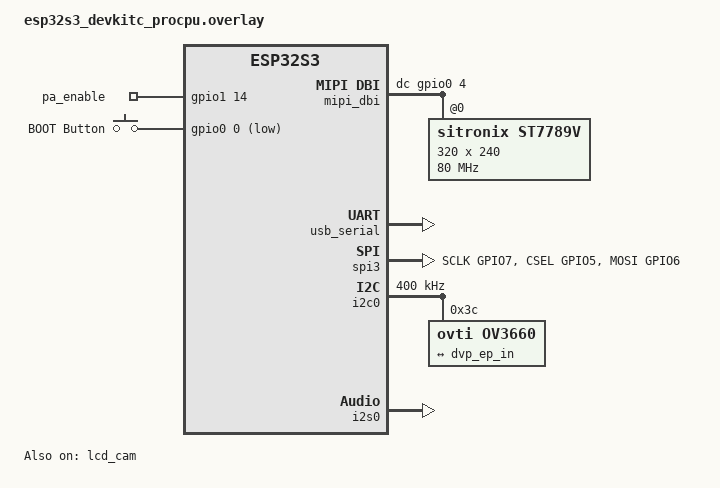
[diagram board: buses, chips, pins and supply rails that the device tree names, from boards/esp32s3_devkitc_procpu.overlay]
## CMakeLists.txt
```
# launcher_full firmware for CHD-ESP32-S3-BOX
#
# Merges launcher's home-screen icon grid UI with face_recognize's
# camera + qwen-vl-plus + CosyVoice TTS pipeline.
#
# 2a: skeleton copied from face_recognize, builds 1:1.
# 2b+: home_ui.c / app_camera.c / app_ai_vision.c will replace main.c.

cmake_minimum_required(VERSION 3.20.0)
find_package(Zephyr REQUIRED HINTS $ENV{ZEPHYR_BASE})
project(launcher_full)

target_sources(app PRIVATE
	src/main.c
	src/home_ui.c
	src/app_camera.c
	src/app_ai_vision.c
	src/app_imu.c
	src/jpeg_enc.c
	src/ai_client.c
	src/audio.c
	src/tts_client.c
)
```

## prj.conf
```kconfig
# Face recognize firmware: Camera + WiFi (NO BT, NO audio).
# Phase 0 goal: verify WiFi coexists with LCD-CAM peripheral.

# ── Display + LVGL (small footprint, just for status text overlay) ──
CONFIG_DISPLAY=y
CONFIG_LVGL=y
CONFIG_LV_USE_LOG=n
CONFIG_LV_Z_MEM_POOL_SIZE=32768
CONFIG_LV_Z_VDB_SIZE=20
CONFIG_LV_Z_BITS_PER_PIXEL=16
CONFIG_LV_COLOR_16_SWAP=y
CONFIG_LV_USE_LABEL=y
CONFIG_LV_USE_BUTTON=y
CONFIG_LV_USE_IMAGE=y
CONFIG_LV_FONT_MONTSERRAT_14=y
CONFIG_LV_FONT_MONTSERRAT_16=y
CONFIG_LV_FONT_MONTSERRAT_18=y
CONFIG_LV_FONT_MONTSERRAT_28=y
# Disable default theme (shadows crash with WiFi/I2S coexistence on ESP32-S3)
CONFIG_LV_USE_THEME_DEFAULT=n
CONFIG_LV_USE_THEME_SIMPLE=y

# ── SPI for LCD ──
CONFIG_SPI=y
CONFIG_MIPI_DBI=y

# ── I2C for OV3660 sensor config ──
CONFIG_I2C=y

# ── GPIO for BOOT button ──
CONFIG_GPIO=y
CONFIG_GPIO_INIT_PRIORITY=40

# ── Video subsystem ──
CONFIG_VIDEO=y
CONFIG_VIDEO_LOG_LEVEL_INF=y
CONFIG_VIDEO_BUFFER_USE_SHARED_MULTI_HEAP=y
CONFIG_VIDEO_BUFFER_SMH_ATTRIBUTE=2
CONFIG_VIDEO_BUFFER_POOL_NUM_MAX=4
CONFIG_VIDEO_BUFFER_POOL_SZ_MAX=153600
CONFIG_VIDEO_ESP32_DMA_BUFFER_MAX_SIZE=4092
CONFIG_VIDEO_OV3660=y
CONFIG_VIDEO_OV3660_COLOR_BAR_TEST=n

# ── DMA for LCD-CAM ──
CONFIG_DMA=y
CONFIG_DMA_ESP32_MAX_DESCRIPTOR_NUM=64

# ── I2S (audio TX/RX via ES8311 + ES7210) ──
CONFIG_I2S=y

# ── PSRAM ──
CONFIG_ESP_SPIRAM=y
CONFIG_SHARED_MULTI_HEAP=y
CONFIG_ESP_SPIRAM_HEAP_SIZE=4194304

# ── Networking ──
CONFIG_NETWORKING=y
CONFIG_NET_MGMT=y
CONFIG_NET_MGMT_EVENT=y
CONFIG_NET_MGMT_EVENT_INFO=y
CONFIG_NET_IPV4=y
CONFIG_NET_IPV6=n
CONFIG_NET_TCP=y
CONFIG_NET_UDP=y
CONFIG_NET_DHCPV4=y
CONFIG_NET_SOCKETS=y
CONFIG_POSIX_API=y

# ── TLS (mbedTLS) for HTTPS to dashscope.aliyuncs.com ──
CONFIG_NET_SOCKETS_SOCKOPT_TLS=y
CONFIG_TLS_CREDENTIALS=y
CONFIG_MBEDTLS=y
CONFIG_MBEDTLS_BUILTIN=y
CONFIG_MBEDTLS_SSL_MAX_CONTENT_LEN=16384
CONFIG_MBEDTLS_TLS_VERSION_1_2=y
CONFIG_MBEDTLS_SERVER_NAME_INDICATION=y
CONFIG_MBEDTLS_ENTROPY_C=y
CONFIG_MBEDTLS_SHA256=y
CONFIG_MBEDTLS_SHA384=y
CONFIG_MBEDTLS_SHA512=y
CONFIG_MBEDTLS_MD=y
CONFIG_MBEDTLS_ASN1_PARSE_C=y
CONFIG_MBEDTLS_KEY_EXCHANGE_RSA_ENABLED=y
CONFIG_MBEDTLS_KEY_EXCHANGE_ECDHE_RSA_ENABLED=y
CONFIG_MBEDTLS_KEY_EXCHANGE_ECDHE_ECDSA_ENABLED=y
CONFIG_MBEDTLS_CIPHER_AES_ENABLED=y
CONFIG_MBEDTLS_CIPHER_GCM_ENABLED=y
CONFIG_MBEDTLS_ECP_C=y
CONFIG_MBEDTLS_ECDH_C=y
CONFIG_MBEDTLS_ECDSA_C=y
CONFIG_MBEDTLS_ECP_DP_SECP256R1_ENABLED=y
CONFIG_MBEDTLS_ECP_DP_SECP384R1_ENABLED=y
CONFIG_MBEDTLS_RSA_C=y
CONFIG_MBEDTLS_PEM_CERTIFICATE_FORMAT=y
CONFIG_MBEDTLS_PKCS1_V15=y

# ── WiFi (PSRAM alloc to keep DRAM free) ──
CONFIG_WIFI=y
CONFIG_WIFI_NM=y
CONFIG_NET_L2_WIFI_MGMT=y
CONFIG_ESP32_WIFI_STA_AUTO_DHCPV4=y
CONFIG_ESP32_WIFI_STATIC_RX_BUFFER_NUM=4
CONFIG_ESP32_WIFI_DYNAMIC_RX_BUFFER_NUM=8
CONFIG_ESP32_WIFI_DYNAMIC_TX_BUFFER_NUM=8
CONFIG_ESP32_WIFI_NET_ALLOC_SPIRAM=y
CONFIG_ESP_WIFI_HEAP_SPIRAM=y

# ── DNS ──
CONFIG_DNS_RESOLVER=y
CONFIG_DNS_RESOLVER_AI_MAX_ENTRIES=2

# ── Logging ──
CONFIG_LOG=y
CONFIG_LOG_DEFAULT_LEVEL=3
CONFIG_PRINTK=y
# Bypass LOG ring for printk so JPEG hex dump can't be dropped.
CONFIG_LOG_PRINTK=n
# Use synchronous log so OV3660 init logs don't get dropped either.
CONFIG_LOG_MODE_IMMEDIATE=y
CONFIG_SERIAL=y

# ── Stack & buffers ──
CONFIG_MAIN_STACK_SIZE=8192
CONFIG_HEAP_MEM_POOL_SIZE=65536
CONFIG_SYSTEM_WORKQUEUE_STACK_SIZE=4096
CONFIG_NET_TX_STACK_SIZE=1024
CONFIG_NET_RX_STACK_SIZE=1024
CONFIG_NET_MGMT_EVENT_STACK_SIZE=4096
CONFIG_NET_PKT_RX_COUNT=24
CONFIG_NET_PKT_TX_COUNT=10
CONFIG_NET_BUF_RX_COUNT=64
CONFIG_NET_BUF_TX_COUNT=24
CONFIG_NET_MAX_CONTEXTS=6
```

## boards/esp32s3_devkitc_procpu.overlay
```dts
/* Camera firmware DTS overlay for CHD-ESP32-S3-BOX
 *
 * Pure camera build: LCD (ST7789V on SPI3) + LCD-CAM (DVP/OV3660) + I2C0 +
 * BOOT button. NO BT, NO I2S, NO SDMMC.
 */

#include <zephyr/dt-bindings/pinctrl/esp-pinctrl-common.h>
#include <dt-bindings/pinctrl/esp32s3-pinctrl.h>
#include <zephyr/dt-bindings/pinctrl/esp32s3-gpio-sigmap.h>
#include <zephyr/dt-bindings/mipi_dbi/mipi_dbi.h>

/ {
	chosen {
		zephyr,console = &usb_serial;
		zephyr,shell-uart = &usb_serial;
		zephyr,display = &st7789v;
		zephyr,camera = &lcd_cam;
	};

	/* ── LCD: ST7789V 320x240 SPI ── */
	mipi_dbi {
		compatible = "zephyr,mipi-dbi-spi";
		dc-gpios = <&gpio0 4 GPIO_ACTIVE_HIGH>;
		spi-dev = <&spi3>;
		write-only;
		#address-cells = <1>;
		#size-cells = <0>;

		st7789v: st7789v@0 {
			compatible = "sitronix,st7789v";
			mipi-max-frequency = <80000000>;
			reg = <0>;
			width = <320>;
			height = <240>;
			x-offset = <0>;
			y-offset = <0>;
			vcom = <0x19>;
			gctrl = <0x35>;
			vrhs = <0x12>;
			vdvs = <0x20>;
			mdac = <0x60>;
			gamma = <0x01>;
			colmod = <0x55>;
			inversion-off;
			lcm = <0x2c>;
			porch-param = [0c 0c 00 33 33];
			cmd2en-param = [5a 69 02 01];
			pwctrl1-param = [a4 a1];
			pvgam-param = [D0 04 0D 11 13 2B 3F 54 4C 18 0D 0B 1F 23];
			nvgam-param = [D0 04 0C 11 13 2C 3F 44 51 2F 1F 1F 20 23];
			ram-param = [00 F0];
			rgb-param = [CD 08 14];
			mipi-mode = "MIPI_DBI_MODE_SPI_4WIRE";
		};
	};

	/* ── PA enable (IO46 = gpio1 pin 14) — for ES8311 speaker amp ── */
	leds {
		compatible = "gpio-leds";
		pa_enable: pa {
			gpios = <&gpio1 14 GPIO_ACTIVE_HIGH>;
		};
	};

	/* ── BOOT button (IO0) ── */
	buttons {
		compatible = "gpio-keys";
		boot_button: boot_button {
			gpios = <&gpio0 0 (GPIO_PULL_UP | GPIO_ACTIVE_LOW)>;
			label = "BOOT Button";
		};
	};

	aliases {
		sw0 = &boot_button;
	};
};

&usb_serial {
	status = "okay";
};

&pinctrl {
	spim3_default: spim3_default {
		group1 {
			pinmux = <SPIM3_SCLK_GPIO7>,
				 <SPIM3_CSEL_GPIO5>;
		};
		group2 {
			pinmux = <SPIM3_MOSI_GPIO6>;
			output-low;
		};
	};

	i2c0_default: i2c0_default {
		group1 {
			pinmux = <I2C0_SDA_GPIO8>,
				 <I2C0_SCL_GPIO18>;
			bias-pull-up;
			drive-open-drain;
			output-high;
		};
	};

	lcd_cam_default: lcd_cam_default {
		group1 {
			pinmux = <LCD_CAM_CAM_CLK_GPIO39>;
			output-enable;
		};
		group2 {
			pinmux = <LCD_CAM_V_SYNC_CAM_GPIO42>,
				 <LCD_CAM_H_ENABLE_CAM_GPIO41>,
				 <LCD_CAM_CAM_PCLK_GPIO14>,
				 <LCD_CAM_DATA_IN0_GPIO12>,
				 <LCD_CAM_DATA_IN1_GPIO10>,
				 <LCD_CAM_DATA_IN2_GPIO9>,
				 <LCD_CAM_DATA_IN3_GPIO11>,
				 <LCD_CAM_DATA_IN4_GPIO13>,
				 <LCD_CAM_DATA_IN5_GPIO21>,
				 <LCD_CAM_DATA_IN6_GPIO38>,
				 <LCD_CAM_DATA_IN7_GPIO40>;
			input-enable;
			bias-disable;
		};
	};

	/* I2S0: Audio (MCLK=IO2, BCLK=IO17, WS=IO45, DOUT=IO15, DIN=IO16) */
	i2s0_default: i2s0_default {
		group1 {
			pinmux = <I2S0_MCLK_GPIO2>,
				 <I2S0_O_WS_GPIO45>,
				 <I2S0_O_BCK_GPIO17>,
				 <I2S0_O_SD_GPIO15>;
			output-enable;
		};
		group2 {
			pinmux = <I2S0_I_SD_GPIO16>;
			input-enable;
		};
	};
};

&spi3 {
	#address-cells = <1>;
	#size-cells = <0>;
	status = "okay";
	pinctrl-0 = <&spim3_default>;
	pinctrl-names = "default";
};

&i2c0 {
	status = "okay";
	clock-frequency = <I2C_BITRATE_FAST>;
	pinctrl-0 = <&i2c0_default>;
	pinctrl-names = "default";

	ov3660: ov3660@3c {
		compatible = "ovti,ov3660";
		reg = <0x3c>;
		status = "okay";

		port {
			ov3660_ep_out: endpoint {
				remote-endpoint = <&dvp_ep_in>;
			};
		};
	};
};

&lcd_cam {
	status = "okay";
	cam-clk = <16000000>;
	pinctrl-0 = <&lcd_cam_default>;
	pinctrl-names = "default";
	source = <&ov3660>;
	dmas = <&dma 2>;
	dma-names = "rx";

	port {
		dvp_ep_in: endpoint {
			remote-endpoint = <&ov3660_ep_out>;
		};
	};
};

&dma {
	status = "okay";
};

/* ── I2S0: Audio TX/RX (ES8311 DAC + ES7210 ADC) ── */
i2s_rxtx: &i2s0 {
	pinctrl-0 = <&i2s0_default>;
	pinctrl-names = "default";
	status = "okay";
};
```

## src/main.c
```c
/*
 * launcher_full main.c — phase 2b/2c skeleton
 *
 * Boot flow:
 *   1) display init + LVGL ready
 *   2) backlight on
 *   3) home_ui_init()
 *   4) BOOT key short-press → home_ui_focus_next()
 *      BOOT key double-press → home_ui_activate_selected()
 *   5) lv_task_handler loop
 *
 * Camera / AI / TTS code is parked in app_ai_vision.c (not yet compiled).
 * It will be re-enabled in 2d/2e once HOME UI + BOOT navigation are validated.
 */

#include <zephyr/kernel.h>
#include <zephyr/logging/log.h>
#include <zephyr/device.h>
#include <zephyr/drivers/display.h>
#include <zephyr/drivers/gpio.h>
#include <lvgl.h>

#include "home_ui.h"

LOG_MODULE_REGISTER(main, LOG_LEVEL_INF);

/* ── Backlight (IO47 = gpio1 pin 15) ─────────────────────────────── */
#define BLK_NODE  DT_NODELABEL(gpio1)
#define BLK_PIN   15

/* ── BOOT button: short press = focus next, double press = activate ─ */
#define BOOT_NODE DT_ALIAS(sw0)
static const struct gpio_dt_spec boot_btn = GPIO_DT_SPEC_GET(BOOT_NODE, gpios);

#define DOUBLE_PRESS_WINDOW_MS  400  /* gap between two presses to count as double */
#define DEBOUNCE_MS              30

static int64_t last_press_ms;
static int64_t prev_release_ms;
static bool    waiting_for_double;

/* Returns 1 = short, 2 = double. Polled in main loop. */
static int read_button_event(void)
{
	static bool pressed_prev;
	bool pressed = (gpio_pin_get_dt(&boot_btn) == 1);
	int64_t now  = k_uptime_get();
	int evt = 0;

	if (pressed && !pressed_prev) {
		/* falling edge */
		if (now - last_press_ms > DEBOUNCE_MS) {
			last_press_ms = now;
		}
	} else if (!pressed && pressed_prev) {
		/* rising edge — released */
		if (now - last_press_ms < DEBOUNCE_MS) {
			/* glitch */
		} else if (waiting_for_double &&
			   (now - prev_release_ms) <= DOUBLE_PRESS_WINDOW_MS) {
			evt = 2;            /* double */
			waiting_for_double = false;
		} else {
			waiting_for_double = true;
			prev_release_ms = now;
		}
	} else if (!pressed && waiting_for_double &&
		   (now - prev_release_ms) > DOUBLE_PRESS_WINDOW_MS) {
		evt = 1;                     /* timed-out single */
		waiting_for_double = false;
	}

	pressed_prev = pressed;
	return evt;
}

int main(void)
{
	LOG_INF("==== launcher_full boot (phase 2b/2c) ====");

	/* Display */
	const struct device *display_dev = DEVICE_DT_GET(DT_CHOSEN(zephyr_display));
	if (!device_is_ready(display_dev)) {
		LOG_ERR("display not ready");
		return -1;
	}

	/* Backlight on */
	const struct device *gpio1_dev = DEVICE_DT_GET(BLK_NODE);
	if (device_is_ready(gpio1_dev)) {
		gpio_pin_configure(gpio1_dev, BLK_PIN, GPIO_OUTPUT_ACTIVE);
		gpio_pin_set(gpio1_dev, BLK_PIN, 1);
	}

	/* BOOT button */
	if (!gpio_is_ready_dt(&boot_btn) ||
	    gpio_pin_configure_dt(&boot_btn, GPIO_INPUT) < 0) {
		LOG_WRN("BOOT button not available — UI navigation disabled");
	}

	/* HOME UI */
	home_ui_init();
	display_blanking_off(display_dev);

	LOG_INF("ready — BOOT short=focus next, double=activate");

	while (1) {
		int evt = read_button_event();
		if (evt == 1) {
			home_ui_focus_next();
		} else if (evt == 2) {
			home_ui_activate_selected();
		}
		lv_task_handler();
		k_msleep(20);
	}
	return 0;
}
```

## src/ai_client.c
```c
/*
 * ai_client.c — POST JPEG to Aliyun bailian (qwen-vl-plus) via TLS.
 *
 * Phase 1b-2: build OpenAI-compatible chat-completions request with
 * data:image/jpeg;base64 payload, send via mbedTLS sockets, dump the
 * raw HTTP response to UART. JSON parsing is deferred to phase 1b-3.
 */

#include <zephyr/kernel.h>
#include <zephyr/logging/log.h>
#include <zephyr/net/socket.h>
#include <zephyr/net/tls_credentials.h>
#include <zephyr/net/dns_resolve.h>

#include <errno.h>
#include <stdio.h>
#include <string.h>

#include "ai_client.h"
#include "ca_cert.h"
#include "secrets.h"

LOG_MODULE_REGISTER(ai_client, LOG_LEVEL_INF);

#define AI_HOST       "dashscope.aliyuncs.com"
#define AI_PORT       "443"
#define AI_PATH       "/compatible-mode/v1/chat/completions"
#define AI_MODEL      "qwen-vl-plus"
#define AI_PROMPT     "请用一句中文描述图片里的人脸或主要内容。"

#define CA_TAG        1

/* PSRAM-backed scratch buffers (avoid blowing up DRAM). */
#define REQ_CAP       (24 * 1024)   /* HTTP headers + JSON + base64 jpeg */
#define RESP_CAP      (4 * 1024)    /* full HTTP response */
#define B64_CAP       (16 * 1024)   /* base64-encoded jpeg, ~4/3 of jpeg_len */

static uint8_t req_buf[REQ_CAP]   __attribute__((section(".ext_ram.bss")));
static uint8_t resp_buf[RESP_CAP] __attribute__((section(".ext_ram.bss")));
static uint8_t b64_buf[B64_CAP]   __attribute__((section(".ext_ram.bss")));

/* ── base64 ─────────────────────────────────────────────────────────── */
static const char b64_tbl[] =
	"ABCDEFGHIJKLMNOPQRSTUVWXYZabcdefghijklmnopqrstuvwxyz0123456789+/";

static int b64_encode(const uint8_t *in, size_t in_len, char *out, size_t out_cap)
{
	size_t need = ((in_len + 2) / 3) * 4 + 1; /* + NUL */
	if (need > out_cap) {
		return -ENOSPC;
	}

	size_t i, o = 0;
	for (i = 0; i + 3 <= in_len; i += 3) {
		uint32_t v = ((uint32_t)in[i] << 16) | ((uint32_t)in[i + 1] << 8) | in[i + 2];
		out[o++] = b64_tbl[(v >> 18) & 0x3F];
		out[o++] = b64_tbl[(v >> 12) & 0x3F];
		out[o++] = b64_tbl[(v >> 6) & 0x3F];
		out[o++] = b64_tbl[v & 0x3F];
	}
	size_t rem = in_len - i;
	if (rem == 1) {
		uint32_t v = (uint32_t)in[i] << 16;
		out[o++] = b64_tbl[(v >> 18) & 0x3F];
		out[o++] = b64_tbl[(v >> 12) & 0x3F];
		out[o++] = '=';
		out[o++] = '=';
	} else if (rem == 2) {
		uint32_t v = ((uint32_t)in[i] << 16) | ((uint32_t)in[i + 1] << 8);
		out[o++] = b64_tbl[(v >> 18) & 0x3F];
		out[o++] = b64_tbl[(v >> 12) & 0x3F];
		out[o++] = b64_tbl[(v >> 6) & 0x3F];
		out[o++] = '=';
	}
	out[o] = '\0';
	return (int)o;
}

/* ── TLS credential init ────────────────────────────────────────────── */
int ai_client_init(void)
{
	int ret = tls_credential_add(CA_TAG, TLS_CREDENTIAL_CA_CERTIFICATE,
				     ca_cert_globalsign_r3,
				     sizeof(ca_cert_globalsign_r3));
	if (ret < 0 && ret != -EEXIST) {
		LOG_ERR("tls_credential_add failed: %d", ret);
		return ret;
	}
	LOG_INF("CA cert registered (tag=%d, %u bytes)",
		CA_TAG, (unsigned)sizeof(ca_cert_globalsign_r3));
	return 0;
}

/* ── DNS + TCP connect ──────────────────────────────────────────────── */
static int connect_tls(void)
{
	struct zsock_addrinfo hints = {
		.ai_family = AF_INET,
		.ai_socktype = SOCK_STREAM,
	};
	struct zsock_addrinfo *res = NULL;

	int ret = zsock_getaddrinfo(AI_HOST, AI_PORT, &hints, &res);
	if (ret != 0 || res == NULL) {
		LOG_ERR("getaddrinfo(%s) failed: %d", AI_HOST, ret);
		return -EHOSTUNREACH;
	}

	int sock = zsock_socket(res->ai_family, res->ai_socktype, IPPROTO_TLS_1_2);
	if (sock < 0) {
		LOG_ERR("socket() failed: %d", -errno);
		zsock_freeaddrinfo(res);
		return -errno;
	}

	sec_tag_t sec_tag_list[] = { CA_TAG };
	if (zsock_setsockopt(sock, SOL_TLS, TLS_SEC_TAG_LIST,
			     sec_tag_list, sizeof(sec_tag_list)) < 0) {
		LOG_ERR("TLS_SEC_TAG_LIST failed: %d", -errno);
		zsock_close(sock);
		zsock_freeaddrinfo(res);
		return -errno;
	}
	if (zsock_setsockopt(sock, SOL_TLS, TLS_HOSTNAME,
			     AI_HOST, strlen(AI_HOST)) < 0) {
		LOG_ERR("TLS_HOSTNAME failed: %d", -errno);
		zsock_close(sock);
		zsock_freeaddrinfo(res);
		return -errno;
	}

	int verify = TLS_PEER_VERIFY_REQUIRED;
	if (zsock_setsockopt(sock, SOL_TLS, TLS_PEER_VERIFY,
			     &verify, sizeof(verify)) < 0) {
		LOG_WRN("TLS_PEER_VERIFY failed: %d", -errno);
	}

	LOG_INF("connecting to %s:%s ...", AI_HOST, AI_PORT);
	if (zsock_connect(sock, res->ai_addr, res->ai_addrlen) < 0) {
		LOG_ERR("connect() failed: %d", -errno);
		zsock_close(sock);
		zsock_freeaddrinfo(res);
		return -errno;
	}
	zsock_freeaddrinfo(res);
	LOG_INF("TLS connected");
	return sock;
}

/* ── send all ───────────────────────────────────────────────────────── */
static int send_all(int sock, const uint8_t *buf, size_t len)
{
	size_t sent = 0;
	while (sent < len) {
		ssize_t n = zsock_send(sock, buf + sent, len - sent, 0);
		if (n < 0) {
			LOG_ERR("send() failed at %zu/%zu: %d", sent, len, -errno);
			return -errno;
		}
		sent += n;
	}
	return 0;
}

/* ── public API ─────────────────────────────────────────────────────── */
int ai_client_post_jpeg(const uint8_t *jpeg, size_t jpeg_len)
{
	int b64_len = b64_encode(jpeg, jpeg_len, (char *)b64_buf, B64_CAP);
	if (b64_len < 0) {
		LOG_ERR("base64 encode failed: %d", b64_len);
		return b64_len;
	}
	LOG_INF("base64: %d bytes (jpeg=%zu)", b64_len, jpeg_len);

	/* Build JSON body in tail of req_buf so we know its length first. */
	char *body = (char *)req_buf + 4096;
	size_t body_cap = REQ_CAP - 4096;
	int body_len = snprintf(body, body_cap,
		"{\"model\":\"%s\","
		"\"messages\":[{\"role\":\"user\",\"content\":["
		"{\"type\":\"image_url\",\"image_url\":{\"url\":\"data:image/jpeg;base64,",
		AI_MODEL);
	if (body_len < 0 || (size_t)body_len >= body_cap) {
		return -ENOSPC;
	}
	if ((size_t)body_len + b64_len + 256 >= body_cap) {
		LOG_ERR("body buffer too small");
		return -ENOSPC;
	}
	memcpy(body + body_len, b64_buf, b64_len);
	body_len += b64_len;
	int tail = snprintf(body + body_len, body_cap - body_len,
		"\"}},{\"type\":\"text\",\"text\":\"%s\"}]}]}", AI_PROMPT);
	if (tail < 0) {
		return -ENOSPC;
	}
	body_len += tail;

	/* Build HTTP header at start of req_buf. */
	int hdr_len = snprintf((char *)req_buf, 4096,
		"POST %s HTTP/1.1\r\n"
		"Host: %s\r\n"
		"Authorization: Bearer %s\r\n"
		"Content-Type: application/json\r\n"
		"Content-Length: %d\r\n"
		"Connection: close\r\n"
		"\r\n",
		AI_PATH, AI_HOST, BAILIAN_API_KEY, body_len);
	if (hdr_len < 0 || hdr_len >= 4096) {
		return -ENOSPC;
	}

	int sock = connect_tls();
	if (sock < 0) {
		return sock;
	}

	int ret = send_all(sock, req_buf, hdr_len);
	if (ret == 0) {
		ret = send_all(sock, (const uint8_t *)body, body_len);
	}
	if (ret < 0) {
		zsock_close(sock);
		return ret;
	}
	LOG_INF("request sent (header=%d, body=%d)", hdr_len, body_len);

	/* Read full response into resp_buf, then dump. */
	size_t total = 0;
	while (total < RESP_CAP - 1) {
		ssize_t n = zsock_recv(sock, resp_buf + total, RESP_CAP - 1 - total, 0);
		if (n == 0) {
			break; /* EOF */
		}
		if (n < 0) {
			LOG_ERR("recv() failed: %d", -errno);
			ret = -errno;
			break;
		}
		total += n;
	}
	zsock_close(sock);
	resp_buf[total] = '\0';

	printk("AI_RESP_BEGIN size=%zu\n", total);
	/* Dump as text in chunks; printk handles \r\n fine. */
	const size_t chunk = 256;
	for (size_t i = 0; i < total; i += chunk) {
		size_t n = (total - i < chunk) ? (total - i) : chunk;
		uint8_t save = resp_buf[i + n];
		resp_buf[i + n] = '\0';
		printk("%s", (char *)(resp_buf + i));
		resp_buf[i + n] = save;
	}
	printk("\nAI_RESP_END\n");

	return ret;
}

/* Extract choices[0].message.content from resp_buf (last response). */
int ai_client_get_caption(char *out, size_t out_max)
{
	if (!out || out_max == 0) return 0;
	out[0] = '\0';

	const char *p = strstr((const char *)resp_buf, "\"content\":\"");
	if (!p) return 0;
	p += 11; /* skip "content":" */

	size_t i = 0;
	while (*p && i + 1 < out_max) {
		char c = *p++;
		if (c == '\\' && *p) {
			char esc = *p++;
			switch (esc) {
			case 'n':  out[i++] = '\n'; break;
			case 't':  out[i++] = '\t'; break;
			case '"':  out[i++] = '"';  break;
			case '\\': out[i++] = '\\'; break;
			case '/':  out[i++] = '/';  break;
			default:   out[i++] = esc;  break;
			}
		} else if (c == '"') {
			break; /* end of string */
		} else {
			out[i++] = c;
		}
	}
	out[i] = '\0';
	return (int)i;
}
```

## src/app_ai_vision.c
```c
/*
 * Face recognize firmware — Step 1a (Option C dynamic switching skeleton).
 *
 * State machine (driven by BOOT button):
 *   MODE_LIVE        : camera streaming, WiFi off, LCD shows preview
 *      └─ BOOT short ──▶ MODE_UPLOADING
 *   MODE_UPLOADING   : cam stopped, WiFi connecting/connected, blue LCD
 *      └─ wifi up + 2s ──▶ MODE_RESULT (Phase 1b will replace 2s with HTTP POST)
 *   MODE_RESULT      : WiFi up but idle, LCD shows captured snapshot
 *      └─ BOOT short ──▶ MODE_LIVE (cam restart, WiFi down)
 *
 * Phase 1b will add: OV3660 JPEG mode, base64 encode, TLS, HTTPS POST to
 * Aliyun bailian qwen-vl-plus, JSON parse + LVGL result text overlay.
 */

#include <zephyr/kernel.h>
#include <zephyr/device.h>
#include <zephyr/drivers/display.h>
#include <zephyr/drivers/gpio.h>
#include <zephyr/drivers/video.h>
#include <zephyr/sys/printk.h>
#include <zephyr/net/net_if.h>
#include <zephyr/net/net_mgmt.h>
#include <zephyr/net/wifi_mgmt.h>
#include <zephyr/logging/log.h>
#include <string.h>

#include "secrets.h"
#include "jpeg_enc.h"
#include "ai_client.h"
#include "audio.h"
#include "tts_client.h"

/* Step 1b-1a: encode a synthetic gradient at boot, dump JPEG hex over UART.
 * Set to 0 to skip (re-enable normal LIVE mode without delay). */
#define JPEG_SELFTEST 0

LOG_MODULE_REGISTER(face_recog, LOG_LEVEL_INF);

#define CAM_W        320
#define CAM_H        240
#define CAM_BPP      2
#define CAM_BYTES    (CAM_W * CAM_H * CAM_BPP)
#define CAM_BUF_NUM  2
#define BL_PIN       (47 - 32)
#define BTN_STACK    1024
#define MAIN_STACK   8192
#define DEBOUNCE_MS  30
#define LONG_PRESS_MS 1500

enum mode {
	MODE_LIVE = 0,
	MODE_UPLOADING,
	MODE_RESULT,
};

static volatile enum mode g_mode = MODE_LIVE;
static volatile bool      g_btn_event;

/* PSRAM-backed snapshot of the last frame captured by the user. */
static uint8_t snapshot[CAM_BYTES] __attribute__((section(".ext_ram.bss"), aligned(4)));
/* Pre-filled solid-blue full-screen buffer for the UPLOADING state. */
static uint8_t blue_screen[CAM_BYTES] __attribute__((section(".ext_ram.bss"), aligned(4)));

/* PSRAM scratch for RGB565→RGB888 conversion + JPEG output of the snapshot.
 * Always allocated (selftest reuses the same backing pages via overlap if
 * JPEG_SELFTEST is enabled — but selftest is now off by default). */
#define SNAP_RGB888_BYTES  (CAM_W * CAM_H * 3)
#define SNAP_JPEG_BYTES    (48 * 1024)
static uint8_t snap_rgb888[SNAP_RGB888_BYTES]
	__attribute__((section(".ext_ram.bss"), aligned(4)));
static uint8_t snap_jpeg[SNAP_JPEG_BYTES]
	__attribute__((section(".ext_ram.bss"), aligned(4)));

/* Convert one RGB565 (big-endian, as written by LCD-CAM DMA) frame to RGB888
 * and run jpeg_enc on it.  Dumps the JPEG hex over UART between the same
 * JPEG_BEGIN/JPEG_END markers used by the selftest, so the host tools
 * (capture_selftest.py + hex_to_jpg.ps1) work unchanged. */
static int dump_snapshot_as_jpeg(int quality)
{
	const uint8_t *src = snapshot;
	uint8_t *dst = snap_rgb888;
	for (int i = 0; i < CAM_W * CAM_H; i++) {
		uint8_t hi = src[2 * i + 0];
		uint8_t lo = src[2 * i + 1];
		uint16_t p = ((uint16_t)hi << 8) | lo;
		uint8_t r5 = (p >> 11) & 0x1F;
		uint8_t g6 = (p >> 5)  & 0x3F;
		uint8_t b5 =  p        & 0x1F;
		dst[3 * i + 0] = (uint8_t)((r5 << 3) | (r5 >> 2));
		dst[3 * i + 1] = (uint8_t)((g6 << 2) | (g6 >> 4));
		dst[3 * i + 2] = (uint8_t)((b5 << 3) | (b5 >> 2));
	}

	int64_t t0 = k_uptime_get();
	int n = jpeg_encode_rgb888(snap_jpeg, SNAP_JPEG_BYTES,
				   snap_rgb888, CAM_W, CAM_H, quality);
	int64_t dt = k_uptime_get() - t0;

	printk("\n=== JPEG SNAPSHOT ===\n");
	printk("encode result=%d bytes, took %lld ms (q=%d)\n", n, dt, quality);
	if (n <= 0) {
		printk("=== JPEG SNAPSHOT FAILED ===\n");
		return n;
	}
	printk("JPEG_BEGIN size=%d\n", n);
	for (int i = 0; i < n; i++) {
		printk("%02x", snap_jpeg[i]);
		if ((i % 32) == 31) {
			printk("\n");
		}
	}
	if ((n % 32) != 0) {
		printk("\n");
	}
	printk("JPEG_END\n=== JPEG SNAPSHOT DONE ===\n\n");
	return n;
}

#if JPEG_SELFTEST
/* RGB888 test pattern + JPEG output (PSRAM-backed). */
#define SELFTEST_RGB_BYTES  (CAM_W * CAM_H * 3)
#define SELFTEST_JPG_BYTES  (48 * 1024)
static uint8_t selftest_rgb[SELFTEST_RGB_BYTES]
	__attribute__((section(".ext_ram.bss"), aligned(4)));
static uint8_t selftest_jpg[SELFTEST_JPG_BYTES]
	__attribute__((section(".ext_ram.bss"), aligned(4)));

static void jpeg_selftest(void)
{
	/* Gradient: R = x ramp, G = y ramp, B = combined diagonal */
	for (int y = 0; y < CAM_H; y++) {
		for (int x = 0; x < CAM_W; x++) {
			uint8_t *p = &selftest_rgb[(y * CAM_W + x) * 3];
			p[0] = (uint8_t)(x * 255 / (CAM_W - 1));
			p[1] = (uint8_t)(y * 255 / (CAM_H - 1));
			p[2] = (uint8_t)(((x + y) * 255) / (CAM_W + CAM_H - 2));
		}
	}
	int64_t t0 = k_uptime_get();
	int n = jpeg_encode_rgb888(selftest_jpg, SELFTEST_JPG_BYTES,
				   selftest_rgb, CAM_W, CAM_H, 50);
	int64_t dt = k_uptime_get() - t0;

	printk("\n=== JPEG SELFTEST ===\n");
	printk("encode result=%d bytes, took %lld ms\n", n, dt);
	if (n <= 0) {
		printk("=== JPEG SELFTEST FAILED ===\n");
		return;
	}
	printk("JPEG_BEGIN size=%d\n", n);
	for (int i = 0; i < n; i++) {
		printk("%02x", selftest_jpg[i]);
		if ((i % 32) == 31) {
			printk("\n");
		}
	}
	if ((n % 32) != 0) {
		printk("\n");
	}
	printk("JPEG_END\n=== JPEG SELFTEST DONE ===\n\n");
}
#endif /* JPEG_SELFTEST */

/* ── Camera buffers ── */
static struct video_buffer *frame_buffers[CAM_BUF_NUM];

/* ── BOOT button (sw0) ── */
static const struct gpio_dt_spec boot_btn = GPIO_DT_SPEC_GET(DT_ALIAS(sw0), gpios);
static K_THREAD_STACK_DEFINE(btn_stack, BTN_STACK);
static struct k_thread btn_thread;

static void btn_thread_entry(void *p1, void *p2, void *p3)
{
	bool was_pressed = false;
	int64_t press_start = 0;

	if (!gpio_is_ready_dt(&boot_btn)) {
		LOG_ERR("BOOT button not ready");
		return;
	}
	gpio_pin_configure_dt(&boot_btn, GPIO_INPUT);

	while (1) {
		bool pressed = gpio_pin_get_dt(&boot_btn) == 1;
		int64_t now  = k_uptime_get();

		if (pressed && !was_pressed) {
			press_start = now;
			was_pressed = true;
		} else if (!pressed && was_pressed) {
			int64_t held = now - press_start;
			was_pressed = false;
			if (held < DEBOUNCE_MS) {
				/* glitch */
			} else if (held < LONG_PRESS_MS) {
				LOG_INF("BOOT short (%lldms) in mode=%d",
					held, (int)g_mode);
				g_btn_event = true;
			} else {
				LOG_INF("BOOT long (%lldms) — reserved", held);
			}
		}
		k_msleep(10);
	}
}

/* ── WiFi ── */

static struct net_if *sta_iface;
static struct net_mgmt_event_callback wifi_cb;
static struct net_mgmt_event_callback ipv4_cb;
static K_SEM_DEFINE(wifi_connected_sem, 0, 1);
static K_SEM_DEFINE(ipv4_ready_sem, 0, 1);
static K_SEM_DEFINE(scan_done_sem, 0, 1);
static bool wifi_cb_added;

static void wifi_evt(struct net_mgmt_event_callback *cb, uint64_t e, struct net_if *iface)
{
	ARG_UNUSED(iface);
	if (e == NET_EVENT_WIFI_SCAN_DONE) {
		k_sem_give(&scan_done_sem);
	} else if (e == NET_EVENT_WIFI_CONNECT_RESULT) {
		if (cb->info && cb->info_length == sizeof(struct wifi_status)) {
			const struct wifi_status *s = cb->info;
			if (s->status == WIFI_STATUS_CONN_SUCCESS) {
				LOG_INF("WiFi connected to %s", WIFI_SSID);
				k_sem_give(&wifi_connected_sem);
			} else {
				LOG_ERR("WiFi connect failed: %d", s->status);
			}
		}
	}
}

static void ipv4_evt(struct net_mgmt_event_callback *cb, uint64_t e, struct net_if *iface)
{
	ARG_UNUSED(cb); ARG_UNUSED(iface);
	if (e == NET_EVENT_IPV4_ADDR_ADD) {
		LOG_INF("IPv4 acquired");
		k_sem_give(&ipv4_ready_sem);
	}
}

static int wifi_up(void)
{
	struct wifi_connect_req_params p = {0};
	int ret;

	if (!sta_iface) {
		sta_iface = net_if_get_default();
	}
	if (!sta_iface) {
		return -ENODEV;
	}
	if (!wifi_cb_added) {
		net_mgmt_init_event_callback(&wifi_cb, wifi_evt,
			NET_EVENT_WIFI_SCAN_DONE | NET_EVENT_WIFI_CONNECT_RESULT |
			NET_EVENT_WIFI_DISCONNECT_RESULT);
		net_mgmt_add_event_callback(&wifi_cb);
		net_mgmt_init_event_callback(&ipv4_cb, ipv4_evt, NET_EVENT_IPV4_ADDR_ADD);
		net_mgmt_add_event_callback(&ipv4_cb);
		wifi_cb_added = true;
	}
	k_sem_reset(&wifi_connected_sem);
	k_sem_reset(&ipv4_ready_sem);
	k_sem_reset(&scan_done_sem);

	(void)net_if_up(sta_iface);

	LOG_INF("WiFi: scanning ...");
	for (int i = 0; i < 10; i++) {
		ret = net_mgmt(NET_REQUEST_WIFI_SCAN, sta_iface, NULL, 0);
		if (ret == 0) break;
		k_msleep(500);
	}
	if (ret) return ret;
	if (k_sem_take(&scan_done_sem, K_SECONDS(15))) return -ETIMEDOUT;

	p.ssid        = (const uint8_t *)WIFI_SSID;
	p.ssid_length = strlen(WIFI_SSID);
	p.psk         = (const uint8_t *)WIFI_PSK;
	p.psk_length  = strlen(WIFI_PSK);
	p.band        = WIFI_FREQ_BAND_UNKNOWN;
	p.channel     = WIFI_CHANNEL_ANY;
	p.security    = WIFI_SECURITY_TYPE_PSK;
	p.mfp         = WIFI_MFP_OPTIONAL;
	p.timeout     = SYS_FOREVER_MS;

	LOG_INF("WiFi: connecting to %s", WIFI_SSID);
	ret = net_mgmt(NET_REQUEST_WIFI_CONNECT, sta_iface, &p, sizeof(p));
	if (ret) return ret;
	if (k_sem_take(&wifi_connected_sem, K_SECONDS(30))) return -ETIMEDOUT;
	if (k_sem_take(&ipv4_ready_sem, K_SECONDS(30))) return -ETIMEDOUT;
	return 0;
}

static void wifi_down(void)
{
	if (!sta_iface) return;
	(void)net_mgmt(NET_REQUEST_WIFI_DISCONNECT, sta_iface, NULL, 0);
	(void)net_if_down(sta_iface);
	LOG_INF("WiFi: down");
}

/* ── Helpers: paint solid color / blit raw frame ── */

static void fill_screen_blue(const struct device *display_dev)
{
	struct display_buffer_descriptor d = {
		.buf_size = CAM_BYTES,
		.width    = CAM_W,
		.pitch    = CAM_W,
		.height   = CAM_H,
	};
	display_write(display_dev, 0, 0, &d, blue_screen);
}

static void blit_snapshot(const struct device *display_dev)
{
	struct display_buffer_descriptor d = {
		.buf_size = CAM_BYTES,
		.width    = CAM_W,
		.pitch    = CAM_W,
		.height   = CAM_H,
	};
	display_write(display_dev, 0, 0, &d, snapshot);
}

/* ── Camera control ── */

static int cam_start(const struct device *cam)
{
	for (int i = 0; i < CAM_BUF_NUM; i++) {
		int r = video_enqueue(cam, frame_buffers[i]);
		if (r < 0) {
			LOG_ERR("re-enqueue %d err %d", i, r);
			return r;
		}
	}
	return video_stream_start(cam, VIDEO_BUF_TYPE_OUTPUT);
}

static void cam_stop(const struct device *cam)
{
	(void)video_stream_stop(cam, VIDEO_BUF_TYPE_OUTPUT);
	/* Drain any in-flight buffers so the next start can re-enqueue cleanly. */
	struct video_buffer *b;
	while (video_dequeue(cam, &b, K_MSEC(50)) == 0) {
		/* discard */
	}
}

/* ── main: drives the state machine ── */

/* Step 1b-3a: 1kHz square-wave beep (0.5s @ 16kHz mono, 16-bit) */
#define BEEP_SAMPLES 8000
static int16_t beep_pcm[BEEP_SAMPLES] __attribute__((section(".ext_ram.bss")));

static void play_boot_beep(void)
{
	if (audio_codec_init() < 0) {
		LOG_WRN("audio_codec_init failed; skipping beep");
		return;
	}
	/* 1 kHz square wave: at 16 kHz that's 16 samples per period (8 hi / 8 lo) */
	for (int i = 0; i < BEEP_SAMPLES; i++) {
		beep_pcm[i] = ((i / 8) & 1) ? 8000 : -8000;
	}
	LOG_INF("playing 1kHz / 0.5s boot beep");
	audio_play(beep_pcm, BEEP_SAMPLES);
	LOG_INF("beep done");
}

int app_ai_vision_run(void)
{
	const struct device *const camera_dev  = DEVICE_DT_GET(DT_CHOSEN(zephyr_camera));
	const struct device *const display_dev = DEVICE_DT_GET(DT_CHOSEN(zephyr_display));
	struct video_format fmt = {
		.type        = VIDEO_BUF_TYPE_OUTPUT,
		.pixelformat = VIDEO_PIX_FMT_RGB565,
		.width       = CAM_W,
		.height      = CAM_H,
		.pitch       = CAM_W * CAM_BPP,
	};
	int ret;

	printk("\n=== launcher_full :: AI Vision (entered from HOME) ===\n");

	if (!device_is_ready(camera_dev) || !device_is_ready(display_dev)) {
		printk("device not ready\n");
		return 0;
	}
	/* Backlight + display_blanking are already on (set by main.c). */

	/* Step 1b-3a: ES8311 + I2S boot self-test */
	play_boot_beep();

	/* Pre-fill the solid-blue buffer (RGB565 BE: 0x001F LE -> 0x1F 00 BE) */
	for (int i = 0; i < CAM_BYTES; i += 2) {
		blue_screen[i]     = 0x00;
		blue_screen[i + 1] = 0x1F;
	}

#if JPEG_SELFTEST
	/* Give the host capture script time to (re)open USB-CDC after RST. */
	printk("\n[selftest will start in 5s — make sure capture script is running]\n");
	k_sleep(K_SECONDS(5));
	jpeg_selftest();
#endif

	if (video_set_format(camera_dev, &fmt) < 0 ||
	    video_get_format(camera_dev, &fmt) < 0) {
		printk("cam fmt err\n");
		return 0;
	}

	for (int i = 0; i < CAM_BUF_NUM; i++) {
		frame_buffers[i] = video_buffer_aligned_alloc(
			CAM_BYTES, CONFIG_VIDEO_BUFFER_POOL_ALIGN, K_FOREVER);
		if (!frame_buffers[i]) {
			printk("vbuf alloc %d failed\n", i);
			return 0;
		}
		frame_buffers[i]->type = VIDEO_BUF_TYPE_OUTPUT;
	}

	k_thread_create(&btn_thread, btn_stack, BTN_STACK,
			btn_thread_entry, NULL, NULL, NULL,
			K_PRIO_PREEMPT(8), 0, K_NO_WAIT);
	k_thread_name_set(&btn_thread, "btn");

	if (cam_start(camera_dev) < 0) {
		printk("cam_start initial failed\n");
		return 0;
	}
	LOG_INF("Mode = LIVE");

	struct video_buffer *captured = NULL;
	bool have_snapshot = false;

	for (uint32_t frame = 0; ; frame++) {
		/* Handle button events first */
		if (g_btn_event) {
			g_btn_event = false;
			if (g_mode == MODE_LIVE) {
				/* Take snapshot from the most recently displayed buffer */
				if (captured) {
					memcpy(snapshot, captured->buffer, CAM_BYTES);
					have_snapshot = true;
					LOG_INF("Snapshot saved (%d B)", CAM_BYTES);
				}
				cam_stop(camera_dev);
				captured = NULL;

				LOG_INF("Mode LIVE → UPLOADING");
				g_mode = MODE_UPLOADING;
				/* Show the snapshot we just took (instead of blue) so the
				 * user sees the picture they captured while WiFi/HTTPS/TTS
				 * crunch in the background. Fall back to blue if for some
				 * reason no snapshot exists. */
				if (have_snapshot) {
					blit_snapshot(display_dev);
				} else {
					fill_screen_blue(display_dev);
				}

				/* Step 1b-1b: encode the snapshot RIGHT HERE (cam stopped,
				 * WiFi not up yet → safe LCD-CAM, deterministic timing). */
				int jpeg_len = 0;
				if (have_snapshot) {
					jpeg_len = dump_snapshot_as_jpeg(50);
				}

				ret = wifi_up();
				if (ret) {
					LOG_ERR("wifi_up failed: %d, skipping POST", ret);
				} else if (jpeg_len > 0) {
					/* Phase 1b-2: POST jpeg to qwen-vl-plus, dump response. */
					if (ai_client_init() == 0) {
						int pr = ai_client_post_jpeg(snap_jpeg, jpeg_len);
						if (pr < 0) {
							LOG_ERR("ai_client_post_jpeg failed: %d", pr);
						} else {
							/* Phase 1b-3b: speak the caption via CosyVoice TTS */
							static char caption[512];
							int n = ai_client_get_caption(caption, sizeof(caption));
							if (n > 0) {
								LOG_INF("caption (%d B): %s", n, caption);
								int tr = tts_client_speak(caption);
								if (tr < 0) LOG_ERR("tts_client_speak: %d", tr);
							} else {
								LOG_WRN("no caption found in response");
							}
						}
					}
				}

				LOG_INF("Mode UPLOADING → RESULT");
				g_mode = MODE_RESULT;
				if (have_snapshot) {
					blit_snapshot(display_dev);
				}
			} else if (g_mode == MODE_RESULT) {
				LOG_INF("Mode RESULT → LIVE");
				wifi_down();
				if (cam_start(camera_dev) < 0) {
					LOG_ERR("cam_start failed");
				}
				g_mode = MODE_LIVE;
			}
			continue;
		}

		if (g_mode != MODE_LIVE) {
			k_msleep(50);
			continue;
		}

		/* LIVE: dequeue + display + re-enqueue */
		ret = video_dequeue(camera_dev, &captured, K_MSEC(200));
		if (ret < 0) {
			continue;
		}
		struct display_buffer_descriptor d = {
			.buf_size = captured->bytesused,
			.width    = fmt.width,
			.pitch    = fmt.width,
			.height   = captured->bytesused / fmt.pitch,
		};
		display_write(display_dev, 0, captured->line_offset, &d, captured->buffer);

		if ((frame % 60U) == 0U) {
			printk("[Cam] frame %u\n", frame);
		}
		(void)video_enqueue(camera_dev, captured);
	}
	return 0;
}
```

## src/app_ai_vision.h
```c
/*
 * app_ai_vision.h — one-way AI Vision entry point.
 *
 * Repurposed from face_recognize/main.c. Once called, owns the device
 * forever: state machine LIVE → UPLOADING → RESULT, BOOT-driven capture,
 * Qwen-VL HTTPS upload, CosyVoice TTS playback. There is no return path
 * in launcher_full phase 2e — exiting requires a reset.
 */

#ifndef APP_AI_VISION_H_
#define APP_AI_VISION_H_

int app_ai_vision_run(void);

#endif /* APP_AI_VISION_H_ */
```

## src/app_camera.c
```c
/*
 * app_camera.c — Camera live preview (one-way; never returns).
 *
 * Phase 2d: borrowed from samples/.../new/camera (LIVE-only path, no
 * gallery, no capture, no BOOT handling). Once the user activates the
 * Camera tile from the HOME screen, the preview owns the display
 * forever. This matches the "进入相机就一直在相机模式" requirement.
 */

#include <zephyr/kernel.h>
#include <zephyr/device.h>
#include <zephyr/drivers/display.h>
#include <zephyr/drivers/video.h>
#include <zephyr/logging/log.h>

#include "app_camera.h"

LOG_MODULE_REGISTER(app_camera, LOG_LEVEL_INF);

#define CAM_W       320
#define CAM_H       240
#define CAM_BPP     2
#define CAM_BYTES   (CAM_W * CAM_H * CAM_BPP)
#define CAM_BUF_NUM 2

static struct video_buffer *vbufs[CAM_BUF_NUM];

static int blit_frame(const struct device *display_dev,
		      const struct video_buffer *vbuf,
		      const struct video_format *fmt)
{
	struct display_buffer_descriptor desc = {
		.buf_size = vbuf->bytesused,
		.width    = fmt->width,
		.pitch    = fmt->width,
		.height   = vbuf->bytesused / fmt->pitch,
	};
	return display_write(display_dev, 0, vbuf->line_offset, &desc, vbuf->buffer);
}

void app_camera_run(void)
{
	const struct device *camera_dev  = DEVICE_DT_GET(DT_CHOSEN(zephyr_camera));
	const struct device *display_dev = DEVICE_DT_GET(DT_CHOSEN(zephyr_display));
	struct video_format fmt = {
		.type        = VIDEO_BUF_TYPE_OUTPUT,
		.pixelformat = VIDEO_PIX_FMT_RGB565,
		.width       = CAM_W,
		.height      = CAM_H,
		.pitch       = CAM_W * CAM_BPP,
	};
	struct video_buffer *captured = NULL;
	int ret;

	LOG_INF("entering Camera (one-way preview)");

	if (!device_is_ready(camera_dev) || !device_is_ready(display_dev)) {
		LOG_ERR("camera or display not ready");
		return;
	}

	ret = video_set_format(camera_dev, &fmt);
	if (ret < 0) {
		LOG_ERR("set_format err %d", ret);
		return;
	}
	video_get_format(camera_dev, &fmt);

	for (int i = 0; i < CAM_BUF_NUM; i++) {
		vbufs[i] = video_buffer_aligned_alloc(
			CAM_BYTES, CONFIG_VIDEO_BUFFER_POOL_ALIGN, K_FOREVER);
		if (!vbufs[i]) {
			LOG_ERR("vbuf alloc %d failed", i);
			return;
		}
		vbufs[i]->type = VIDEO_BUF_TYPE_OUTPUT;
		ret = video_enqueue(camera_dev, vbufs[i]);
		if (ret < 0) {
			LOG_ERR("enqueue %d err %d", i, ret);
			return;
		}
	}

	ret = video_stream_start(camera_dev, VIDEO_BUF_TYPE_OUTPUT);
	if (ret < 0) {
		LOG_ERR("stream_start err %d", ret);
		return;
	}
	LOG_INF("camera stream started");

	for (uint32_t frame = 0; ; frame++) {
		ret = video_dequeue(camera_dev, &captured, K_FOREVER);
		if (ret < 0) {
			LOG_ERR("dequeue err %d", ret);
			break;
		}
		if ((frame % 120U) == 0U) {
			LOG_INF("frame %u", frame);
		}
		(void)blit_frame(display_dev, captured, &fmt);
		(void)video_enqueue(camera_dev, captured);
	}
}
```

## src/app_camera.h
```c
/*
 * app_camera.h — one-way live preview entry.
 *
 * Once called, owns the LCD forever. There is no return path in
 * launcher_full phase 2d — exiting the camera requires a reset.
 */

#ifndef APP_CAMERA_H_
#define APP_CAMERA_H_

void app_camera_run(void);

#endif /* APP_CAMERA_H_ */
```

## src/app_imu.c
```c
/*
 * app_imu.c — ICM-42607-C live dashboard (LVGL).
 *
 * Phase 2f port of imu_test:
 *   - I2C0 @ 0x68
 *   - ±4 g, ±500 °/s, 100 Hz sampling
 *   - LVGL screen with 6 live values + tilt bar
 *
 * One-way: never returns. Reset to leave.
 */

#include <zephyr/kernel.h>
#include <zephyr/device.h>
#include <zephyr/drivers/i2c.h>
#include <zephyr/logging/log.h>
#include <stdio.h>
#include <lvgl.h>

#include "app_imu.h"

LOG_MODULE_REGISTER(app_imu, LOG_LEVEL_INF);

/* ── ICM-42607-C registers (subset) ── */
#define ICM42607_ADDR          0x68
#define REG_MCLK_RDY           0x00
#define REG_SIGNAL_PATH_RESET  0x02
#define REG_ACCEL_DATA_X1      0x0B
#define REG_PWR_MGMT0          0x1F
#define REG_GYRO_CONFIG0       0x20
#define REG_ACCEL_CONFIG0      0x21
#define REG_WHO_AM_I           0x75
#define BIT_SOFT_RESET         (1 << 4)
#define PWR_GYRO_LN_ACCEL_LN  0x0F
#define ACCEL_FS_4G_ODR_100   ((2 << 5) | 0x09)
#define GYRO_FS_500_ODR_100   ((2 << 5) | 0x09)

/* Conversion: ±4 g  → 8192 LSB/g    (full-scale 32768)
 *             ±500 °/s → 65.5 LSB/(°/s)
 */
#define ACC_LSB_PER_G   8192
#define GYR_LSB_PER_DPS 65   /* round 65.5 → 65 for integer math */

static const struct device *i2c_dev;

static int imu_init(void)
{
	uint8_t v;
	int ret;

	if (i2c_reg_read_byte(i2c_dev, ICM42607_ADDR, REG_WHO_AM_I, &v)) {
		LOG_ERR("WHO_AM_I read failed");
		return -1;
	}
	LOG_INF("WHO_AM_I=0x%02X", v);

	(void)i2c_reg_write_byte(i2c_dev, ICM42607_ADDR, REG_SIGNAL_PATH_RESET, BIT_SOFT_RESET);
	k_msleep(20);
	for (int i = 0; i < 10; i++) {
		ret = i2c_reg_read_byte(i2c_dev, ICM42607_ADDR, REG_MCLK_RDY, &v);
		if (!ret && (v & 0x08)) {
			break;
		}
		k_msleep(5);
	}

	(void)i2c_reg_write_byte(i2c_dev, ICM42607_ADDR, REG_ACCEL_CONFIG0, ACCEL_FS_4G_ODR_100);
	(void)i2c_reg_write_byte(i2c_dev, ICM42607_ADDR, REG_GYRO_CONFIG0,  GYRO_FS_500_ODR_100);
	(void)i2c_reg_write_byte(i2c_dev, ICM42607_ADDR, REG_PWR_MGMT0,     PWR_GYRO_LN_ACCEL_LN);
	k_msleep(50);
	LOG_INF("IMU online (±4g, ±500dps, 100Hz)");
	return 0;
}

static int imu_read(int16_t *ax, int16_t *ay, int16_t *az,
		    int16_t *gx, int16_t *gy, int16_t *gz)
{
	uint8_t d[12];
	int r = i2c_burst_read(i2c_dev, ICM42607_ADDR, REG_ACCEL_DATA_X1, d, 12);
	if (r) {
		return r;
	}
	*ax = (int16_t)((d[0]  << 8) | d[1]);
	*ay = (int16_t)((d[2]  << 8) | d[3]);
	*az = (int16_t)((d[4]  << 8) | d[5]);
	*gx = (int16_t)((d[6]  << 8) | d[7]);
	*gy = (int16_t)((d[8]  << 8) | d[9]);
	*gz = (int16_t)((d[10] << 8) | d[11]);
	return 0;
}

void app_imu_run(void)
{
	LOG_INF("entering IMU dashboard (one-way)");

	i2c_dev = DEVICE_DT_GET(DT_NODELABEL(i2c0));
	bool have_imu = device_is_ready(i2c_dev) && imu_init() == 0;

	/* Build a fresh LVGL screen */
	lv_obj_t *scr = lv_obj_create(NULL);
	lv_obj_set_style_bg_color(scr, lv_color_hex(0x0F172A), 0);
	lv_obj_set_style_bg_opa(scr, LV_OPA_COVER, 0);
	lv_obj_clear_flag(scr, LV_OBJ_FLAG_SCROLLABLE);

	lv_obj_t *title = lv_label_create(scr);
	lv_label_set_text(title, "IMU - ICM42607");
	lv_obj_set_style_text_color(title, lv_color_hex(0xF97316), 0);
	lv_obj_set_style_text_font(title, &lv_font_montserrat_18, 0);
	lv_obj_align(title, LV_ALIGN_TOP_MID, 0, 6);

	lv_obj_t *acc_lbl = lv_label_create(scr);
	lv_obj_set_style_text_color(acc_lbl, lv_color_hex(0x10B981), 0);
	lv_obj_set_style_text_font(acc_lbl, &lv_font_montserrat_16, 0);
	lv_obj_align(acc_lbl, LV_ALIGN_TOP_LEFT, 14, 40);

	lv_obj_t *gyr_lbl = lv_label_create(scr);
	lv_obj_set_style_text_color(gyr_lbl, lv_color_hex(0x60A5FA), 0);
	lv_obj_set_style_text_font(gyr_lbl, &lv_font_montserrat_16, 0);
	lv_obj_align(gyr_lbl, LV_ALIGN_TOP_LEFT, 14, 110);

	/* Tilt bar — 200 px wide, fills with horizontal accel projection */
	lv_obj_t *bar_bg = lv_obj_create(scr);
	lv_obj_remove_style_all(bar_bg);
	lv_obj_set_size(bar_bg, 220, 14);
	lv_obj_align(bar_bg, LV_ALIGN_BOTTOM_MID, 0, -16);
	lv_obj_set_style_bg_color(bar_bg, lv_color_hex(0x1F2937), 0);
	lv_obj_set_style_bg_opa(bar_bg, LV_OPA_COVER, 0);
	lv_obj_set_style_radius(bar_bg, 4, 0);

	lv_obj_t *bar_fg = lv_obj_create(bar_bg);
	lv_obj_remove_style_all(bar_fg);
	lv_obj_set_size(bar_fg, 6, 14);
	lv_obj_set_pos(bar_fg, 107, 0);
	lv_obj_set_style_bg_color(bar_fg, lv_color_hex(0xFBBF24), 0);
	lv_obj_set_style_bg_opa(bar_fg, LV_OPA_COVER, 0);
	lv_obj_set_style_radius(bar_fg, 3, 0);

	lv_obj_t *foot = lv_label_create(scr);
	lv_label_set_text(foot, "RST to leave");
	lv_obj_set_style_text_color(foot, lv_color_hex(0x6B7280), 0);
	lv_obj_set_style_text_font(foot, &lv_font_montserrat_14, 0);
	lv_obj_align(foot, LV_ALIGN_BOTTOM_MID, 0, -2);

	lv_screen_load(scr);

	if (!have_imu) {
		lv_label_set_text(acc_lbl, "I2C/IMU not ready");
		lv_label_set_text(gyr_lbl, "(check overlay)");
		while (1) {
			lv_task_handler();
			k_msleep(100);
		}
	}

	char acc_buf[64], gyr_buf[64];
	int16_t ax, ay, az, gx, gy, gz;

	while (1) {
		if (imu_read(&ax, &ay, &az, &gx, &gy, &gz) == 0) {
			/* milli-g and milli-dps for clean integer print */
			int axm = (int)ax * 1000 / ACC_LSB_PER_G;
			int aym = (int)ay * 1000 / ACC_LSB_PER_G;
			int azm = (int)az * 1000 / ACC_LSB_PER_G;
			int gxm = (int)gx * 1000 / GYR_LSB_PER_DPS;
			int gym = (int)gy * 1000 / GYR_LSB_PER_DPS;
			int gzm = (int)gz * 1000 / GYR_LSB_PER_DPS;

			snprintf(acc_buf, sizeof(acc_buf),
				 "ACC mg\n  X %+5d\n  Y %+5d\n  Z %+5d", axm, aym, azm);
			snprintf(gyr_buf, sizeof(gyr_buf),
				 "GYR mdps\n  X %+6d\n  Y %+6d\n  Z %+6d", gxm, gym, gzm);
			lv_label_set_text(acc_lbl, acc_buf);
			lv_label_set_text(gyr_lbl, gyr_buf);

			/* Tilt bar: AX → cursor position. ±1g maps to ±100 px around centre. */
			int cursor = 107 + axm * 100 / 1000;
			if (cursor < 0)   cursor = 0;
			if (cursor > 214) cursor = 214;
			lv_obj_set_x(bar_fg, cursor);
		}
		lv_task_handler();
		k_msleep(100);
	}
}
```

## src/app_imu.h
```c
/*
 * app_imu.h — one-way IMU dashboard.
 *
 * Owns the LCD forever once entered. Reads ICM-42607-C over I2C0,
 * shows live accel/gyro values via LVGL. Reset to leave.
 */

#ifndef APP_IMU_H_
#define APP_IMU_H_

void app_imu_run(void);

#endif /* APP_IMU_H_ */
```

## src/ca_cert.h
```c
/*
 * GlobalSign Root CA - R3
 * Used as TLS root CA for dashscope.aliyuncs.com (Aliyun bailian).
 *
 * Real chain (verified via openssl s_client):
 *   leaf  : CN=*.aliyuncs.com (Alibaba (China) Technology Co., Ltd.)
 *   inter : CN=GlobalSign GCC R3 OV TLS CA 2024
 *   root  : CN=GlobalSign Root CA - R3   ← this file
 *
 * Source: https://secure.globalsign.com/cacert/root-r3.crt (DER → PEM)
 */
#ifndef CA_CERT_H_
#define CA_CERT_H_

static const unsigned char ca_cert_globalsign_r3[] =
"-----BEGIN CERTIFICATE-----\n"
"MIIDXzCCAkegAwIBAgILBAAAAAABIVhTCKIwDQYJKoZIhvcNAQELBQAwTDEgMB4G\n"
"A1UECxMXR2xvYmFsU2lnbiBSb290IENBIC0gUjMxEzARBgNVBAoTCkdsb2JhbFNp\n"
"Z24xEzARBgNVBAMTCkdsb2JhbFNpZ24wHhcNMDkwMzE4MTAwMDAwWhcNMjkwMzE4\n"
"MTAwMDAwWjBMMSAwHgYDVQQLExdHbG9iYWxTaWduIFJvb3QgQ0EgLSBSMzETMBEG\n"
"A1UEChMKR2xvYmFsU2lnbjETMBEGA1UEAxMKR2xvYmFsU2lnbjCCASIwDQYJKoZI\n"
"hvcNAQEBBQADggEPADCCAQoCggEBAMwldpB5BngiFvXAg7aEyiie/QV2EcWtiHL8\n"
"RgJDx7KKnQRfJMsuS+FggkbhUqsMgUdwbN1k0ev1LKMPgj0MK66X17YUhhB5uzsT\n"
"gHeMCOFJ0mpiLx9e+pZo34knlTifBtc+ycsmWQ1z3rDI6SYOgxXG71uL0gRgykmm\n"
"KPZpO/bLyCiR5Z2KYVc3rHQU3HTgOu5yLy6c+9C7v/U9AOEGM+iCK65TpjoWc4zd\n"
"QQ4gOsC0p6Hpsk+QLjJg6VfLuQSSaGjlOCZgdbKfd/+RFO+uIEn8rUAVSNECMWEZ\n"
"XriX7613t2Saer9fwRPvm2L7DWzgVGkWqQPabumDk3F2xmmFghcCAwEAAaNCMEAw\n"
"DgYDVR0PAQH/BAQDAgEGMA8GA1UdEwEB/wQFMAMBAf8wHQYDVR0OBBYEFI/wS3+o\n"
"LkUkrk1Q+mOai97i3Ru8MA0GCSqGSIb3DQEBCwUAA4IBAQBLQNvAUKr+yAzv95ZU\n"
"RUm7lgAJQayzE4aGKAczymvmdLm6AC2upArT9fHxD4q/c2dKg8dEe3jgr25sbwMp\n"
"jjM5RcOO5LlXbKr8EpbsU8Yt5CRsuZRj+9xTaGdWPoO4zzUhw8lo/s7awlOqzJCK\n"
"6fBdRoyV3XpYKBovHd7NADdBj+1EbddTKJd+82cEHhXXipa0095MJ6RMG3NzdvQX\n"
"mcIfeg7jLQitChws/zyrVQ4PkX4268NXSb7hLi18YIvDQVETI53O9zJrlAGomecs\n"
"Mx86OyXShkDOOyyGeMlhLxS67ttVb9+E7gUJTb0o2HLO02JQZR7rkpeDMdmztcpH\n"
"WD9f\n"
"-----END CERTIFICATE-----\n";

#endif /* CA_CERT_H_ */
```

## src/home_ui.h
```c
/*
 * home_ui.h — launcher_full HOME screen
 *
 * 8 icons in a 4x2 grid (ported from launcher/src/launcher_ui.c, simplified).
 * Navigation is done with a single BOOT key:
 *   short press  → focus moves to next icon
 *   double press → invoke selected app
 *
 * Two real apps are wired in 2d/2e:
 *   APP_CAMERA     — live preview only
 *   APP_AI_VISION  — capture + qwen-vl-plus + CosyVoice TTS
 *
 * The other 6 icons are stubs that show a "敬请期待" toast.
 */

#ifndef HOME_UI_H_
#define HOME_UI_H_

#include <stddef.h>

#define APP_AI_VISION   0
#define APP_CAMERA      1
#define APP_NES         2
#define APP_PHOTOS      3
#define APP_TERMINAL    4
#define APP_MUSIC       5
#define APP_FACE        6
#define APP_IMU         7
#define APP_COUNT       8

/* Build the home screen and load it. Must be called after display init. */
void home_ui_init(void);

/* Move focus to the next icon (called from BOOT short-press handler). */
void home_ui_focus_next(void);

/* Activate the currently focused icon (called from BOOT double-press). */
void home_ui_activate_selected(void);

/* Returns the currently focused app id (0..APP_COUNT-1). */
int  home_ui_get_selected(void);

#endif /* HOME_UI_H_ */
```

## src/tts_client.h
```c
/*
 * tts_client.h — CosyVoice WebSocket TTS over TLS
 *
 * Step 1b-3b: speak the qwen-vl-plus caption via Aliyun CosyVoice
 * (cosyvoice-v3-flash). One call does TLS connect + WS upgrade +
 * run-task / continue-task / finish-task + audio_play().
 */
#ifndef TTS_CLIENT_H_
#define TTS_CLIENT_H_

/* Initialise (currently a no-op; CA cert already registered by ai_client). */
int tts_client_init(void);

/* Speak `text` (UTF-8, plain). Blocks until playback finishes.
 * Returns 0 on success, negative on error. */
int tts_client_speak(const char *text);

#endif /* TTS_CLIENT_H_ */
```
